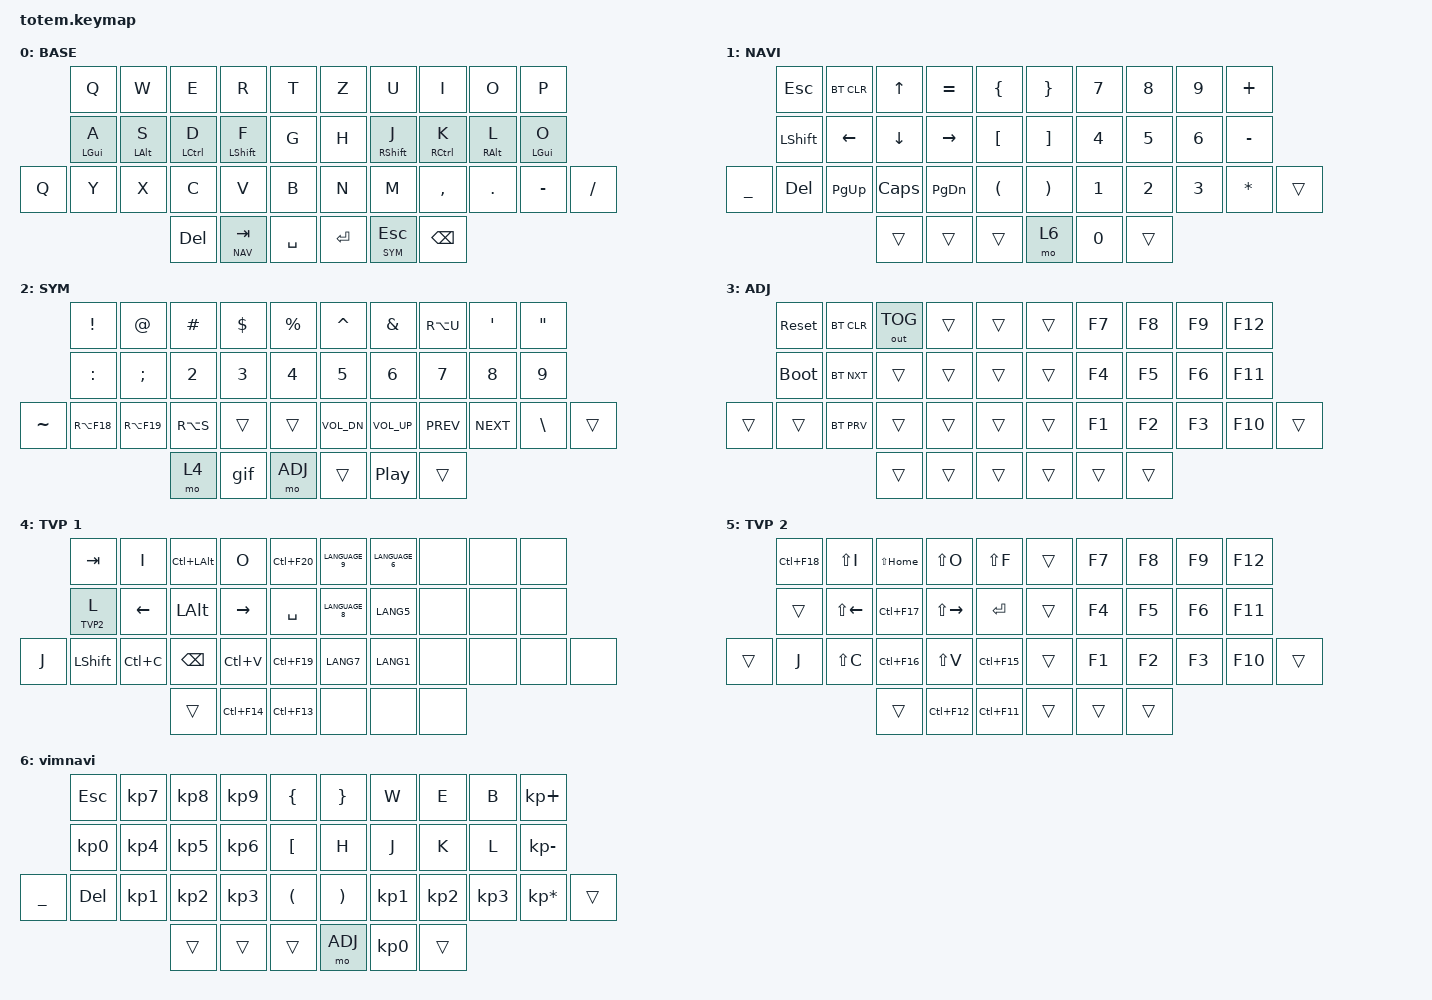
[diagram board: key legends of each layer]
//
//                                                        ▀▀▀▀▀     ▀▀▀▀▀          ▀▀█▀▀
//                                                        ▄▀▀▀▄  ▄  ▄▀▀▀▄  ▄  ▄▀▀▀▄  █  ▄▀▀▀▄
//                                                        █   █  █  █   █  █  █   █  █  █   █
//                                                         ▀▀▀   █   ▀▀▀   █   ▀▀▀   ▀   ▀▀▀
//                                                               █      ▄▄▄█▄▄▄    █   █  
//                                                               ▀      █  █  █     █▄█
//                                                             ▀▀▀▀▀    █  █  █      ▀
//                                                                      ▀  ▀  ▀
//
// ▄▄▄▄▄▄▄▄▄▄▄▄▄▄▄▄▄▄▄▄▄▄▄▄▄▄▄▄▄▄▄▄▄▄▄▄▄▄▄▄▄▄▄▄▄▄▄▄▄▄▄▄▄▄▄▄▄▄▄▄▄▄▄▄▄▄▄▄▄▄▄▄▄▄▄▄▄▄▄▄▄▄▄▄▄▄▄▄▄▄▄▄▄▄▄▄▄▄▄▄▄▄▄▄▄▄▄▄▄▄▄▄▄▄▄▄▄▄▄▄▄▄▄▄▄▄▄▄▄▄▄▄▄▄▄▄▄▄▄▄▄▄▄▄▄▄▄▄▄

#include <behaviors.dtsi>
#include <dt-bindings/zmk/bt.h>
#include <dt-bindings/zmk/keys.h>
#include <dt-bindings/zmk/outputs.h>

#define BASE 0
#define NAV  1
#define SYM  2
#define ADJ  3
#define TVP1 4
#define TVP2 5

&mt {
    quick-tap-ms = <120>;
    global-quick-tap;
    flavor = "tap-preferred";
    tapping-term-ms = <180>;
};

/ {
    combos {
        compatible = "zmk,combos";

        combo_esc {
            timeout-ms = <50>;
            key-positions = <0 1>;
            bindings = <&kp ESC>;
        };

        combo_tvp {
            timeout-ms = <100>;
            key-positions = <11 12 13>;
            bindings = <&tog TVP1>;
        };
    };

    macros {
        gif: gif {
            label = "giphy";
            compatible = "zmk,behavior-macro";
            #binding-cells = <0>;
            bindings =
                <&macro_press>,
                <&kp LSHFT>,
                <&macro_tap>,
                <&kp N2>,
                <&macro_release>,
                <&kp LSHFT>,
                <&macro_tap>,
                <&kp G &kp I &kp F>;
        };
    };

    keymap {
        compatible = "zmk,keymap";

        // ▄▄▄▄▄▄▄▄▄▄▄▄▄▄▄▄▄▄▄▄▄▄▄▄▄▄▄▄▄▄▄▄▄▄▄▄▄▄▄▄▄▄▄▄▄▄▄▄▄▄▄▄▄▄▄▄▄▄▄▄▄▄▄▄▄▄▄▄▄▄▄▄▄▄▄▄▄▄▄▄▄▄▄▄▄▄▄▄▄▄▄▄▄▄▄▄▄▄▄▄▄▄▄▄▄▄▄▄▄▄▄▄▄▄▄▄▄▄▄▄▄▄▄▄▄▄▄▄▄▄▄▄▄▄▄▄▄▄▄▄▄▄▄▄▄▄▄▄▄

        base_layer {
            // ┏━━━━━━━━━━━━━━━━━━━━━━━━━━━━━━━━━━━━━━━┓

            label = "BASE";

            // ┗━━━━━━━━━━━━━━━━━━━━━━━━━━━━━━━━━━━━━━━┛
            //             ┏━━━━━━━━━━━┳━━━━━━━━━━━┳━━━━━━━━━━━┳━━━━━━━━━━━┳━━━━━━━━━━━┓   ┏━━━━━━━━━━━┳━━━━━━━━━━━┳━━━━━━━━━━━┳━━━━━━━━━━━┳━━━━━━━━━━━┓
            //             ┃     Q     ┃     W     ┃     F     ┃     P     ┃     G     ┃   ┃     J     ┃     L     ┃     U     ┃     Y     ┃     ;     ┃
            //             ┣━━━━━━━━━━━╋━━━━━━━━━━━╋━━━━━━━━━━━╋━━━━━━━━━━━╋━━━━━━━━━━━┫   ┣━━━━━━━━━━━╋━━━━━━━━━━━╋━━━━━━━━━━━╋━━━━━━━━━━━╋━━━━━━━━━━━┫
            //             ┃     A     ┃     R     ┃     S     ┃     T     ┃     D     ┃   ┃     H     ┃     N     ┃     E     ┃     I     ┃     O     ┃
            // ┏━━━━━━━━━━━╋━━━━━━━━━━━╋━━━━━━━━━━━╋━━━━━━━━━━━╋━━━━━━━━━━━╋━━━━━━━━━━━┫   ┣━━━━━━━━━━━╋━━━━━━━━━━━╋━━━━━━━━━━━╋━━━━━━━━━━━╋━━━━━━━━━━━╋━━━━━━━━━━━┓
            // ┃     Q     ┃     Z     ┃     X     ┃     C     ┃     V     ┃     B     ┃   ┃     K     ┃     M     ┃     ,     ┃     .     ┃     /     ┃     \     ┃
            // ┗━━━━━━━━━━━┻━━━━━━━━━━━┻━━━━━━━━━━━╋━━━━━━━━━━━╋━━━━━━━━━━━╋━━━━━━━━━━━┫   ┣━━━━━━━━━━━╋━━━━━━━━━━━╋━━━━━━━━━━━╋━━━━━━━━━━━┻━━━━━━━━━━━┻━━━━━━━━━━━┛
            //                                     ┃    DEL    ┃    TAB    ┃    SPC    ┃   ┃   ENTER   ┃           ┃   BSPC    ┃
            //                                     ┗━━━━━━━━━━━┻━━━━━━━━━━━┻━━━━━━━━━━━┛   ┗━━━━━━━━━━━┻━━━━━━━━━━━┻━━━━━━━━━━━┛

            bindings = <
       &kp Q       &kp W       &kp E        &kp R        &kp T        &kp Z    &kp U        &kp I        &kp O       &kp P
       &mt LGUI A  &mt LALT S  &mt LCTRL D  &mt LSHFT F  &kp G        &kp H    &mt RSHFT J  &mt RCTRL K  &mt RALT L  &mt LEFT_GUI O
&kp Q  &kp Y       &kp X       &kp C        &kp V        &kp B        &kp N    &kp M        &kp COMMA    &kp DOT     &kp MINUS       &kp SLASH
                               &kp DEL      &lt NAV TAB  &kp SPACE    &kp RET  &lt SYM ESC  &kp BSPC
            >;
        };

        // ▄▄▄▄▄▄▄▄▄▄▄▄▄▄▄▄▄▄▄▄▄▄▄▄▄▄▄▄▄▄▄▄▄▄▄▄▄▄▄▄▄▄▄▄▄▄▄▄▄▄▄▄▄▄▄▄▄▄▄▄▄▄▄▄▄▄▄▄▄▄▄▄▄▄▄▄▄▄▄▄▄▄▄▄▄▄▄▄▄▄▄▄▄▄▄▄▄▄▄▄▄▄▄▄▄▄▄▄▄▄▄▄▄▄▄▄▄▄▄▄▄▄▄▄▄▄▄▄▄▄▄▄▄▄▄▄▄▄▄▄▄▄▄▄▄▄▄▄▄

        nav_layer {
            // ┏━━━━━━━━━━━━━━━━━━━━━━━━━━━━━━━━━━━━━━━┓

            label = "NAVI";

            // ┗━━━━━━━━━━━━━━━━━━━━━━━━━━━━━━━━━━━━━━━┛
            //             ┏━━━━━━━━━━━┳━━━━━━━━━━━┳━━━━━━━━━━━┳━━━━━━━━━━━┳━━━━━━━━━━━┓   ┏━━━━━━━━━━━┳━━━━━━━━━━━┳━━━━━━━━━━━┳━━━━━━━━━━━┳━━━━━━━━━━━┓
            //             ┃           ┃           ┃     UP    ┃           ┃     {     ┃   ┃     }     ┃     7     ┃     8     ┃     9     ┃     +     ┃
            //             ┣━━━━━━━━━━━╋━━━━━━━━━━━╋━━━━━━━━━━━╋━━━━━━━━━━━╋━━━━━━━━━━━┫   ┣━━━━━━━━━━━╋━━━━━━━━━━━╋━━━━━━━━━━━╋━━━━━━━━━━━╋━━━━━━━━━━━┫
            //             ┃   SHIFT   ┃   LEFT    ┃    DOWN   ┃   RIGHT   ┃     [     ┃   ┃     ]     ┃     4     ┃     5     ┃     6     ┃     -     ┃
            // ┏━━━━━━━━━━━╋━━━━━━━━━━━╋━━━━━━━━━━━╋━━━━━━━━━━━╋━━━━━━━━━━━╋━━━━━━━━━━━┫   ┣━━━━━━━━━━━╋━━━━━━━━━━━╋━━━━━━━━━━━╋━━━━━━━━━━━╋━━━━━━━━━━━╋━━━━━━━━━━━┓
            // ┃           ┃           ┃   P UP    ┃  C LOCK   ┃  P DOWN   ┃     (     ┃   ┃     )     ┃     1     ┃     2     ┃     3     ┃     *     ┃           ┃
            // ┗━━━━━━━━━━━┻━━━━━━━━━━━┻━━━━━━━━━━━╋━━━━━━━━━━━╋━━━━━━━━━━━╋━━━━━━━━━━━┫   ┣━━━━━━━━━━━╋━━━━━━━━━━━╋━━━━━━━━━━━╋━━━━━━━━━━━┻━━━━━━━━━━━┻━━━━━━━━━━━┛
            //                                     ┃           ┃    TAB    ┃    SPC    ┃   ┃    DEL    ┃     0     ┃           ┃
            //                                     ┗━━━━━━━━━━━┻━━━━━━━━━━━┻━━━━━━━━━━━┛   ┗━━━━━━━━━━━┻━━━━━━━━━━━┻━━━━━━━━━━━┛

            bindings = <
           &kp ESC    &bt BT_CLR  &kp UP    &kp EQUAL  &kp LBRC    &kp RBRC  &kp NUMBER_7  &kp NUMBER_8  &kp NUMBER_9  &kp PLUS
           &kp LSHFT  &kp LEFT    &kp DOWN  &kp RIGHT  &kp LBKT    &kp RBKT  &kp NUMBER_4  &kp NUMBER_5  &kp NUMBER_6  &kp MINUS
&kp UNDER  &kp DEL    &kp PG_UP   &kp CAPS  &kp PG_DN  &kp LPAR    &kp RPAR  &kp NUMBER_1  &kp NUMBER_2  &kp NUMBER_3  &kp ASTERISK  &trans
                                  &trans    &trans     &trans      &mo 6     &kp NUMBER_0  &trans
            >;
        };

        // ▄▄▄▄▄▄▄▄▄▄▄▄▄▄▄▄▄▄▄▄▄▄▄▄▄▄▄▄▄▄▄▄▄▄▄▄▄▄▄▄▄▄▄▄▄▄▄▄▄▄▄▄▄▄▄▄▄▄▄▄▄▄▄▄▄▄▄▄▄▄▄▄▄▄▄▄▄▄▄▄▄▄▄▄▄▄▄▄▄▄▄▄▄▄▄▄▄▄▄▄▄▄▄▄▄▄▄▄▄▄▄▄▄▄▄▄▄▄▄▄▄▄▄▄▄▄▄▄▄▄▄▄▄▄▄▄▄▄▄▄▄▄▄▄▄▄▄▄▄

        sim_layer {
            // ┏━━━━━━━━━━━━━━━━━━━━━━━━━━━━━━━━━━━━━━━┓

            label = "SYM";

            // ┗━━━━━━━━━━━━━━━━━━━━━━━━━━━━━━━━━━━━━━━┛
            //             ┏━━━━━━━━━━━┳━━━━━━━━━━━┳━━━━━━━━━━━┳━━━━━━━━━━━┳━━━━━━━━━━━┓   ┏━━━━━━━━━━━┳━━━━━━━━━━━┳━━━━━━━━━━━┳━━━━━━━━━━━┳━━━━━━━━━━━┓
            //             ┃     !     ┃     @     ┃     #     ┃     $     ┃     %     ┃   ┃     ˆ     ┃     &     ┃     Ü     ┃     '     ┃     "     ┃
            //             ┣━━━━━━━━━━━╋━━━━━━━━━━━╋━━━━━━━━━━━╋━━━━━━━━━━━╋━━━━━━━━━━━┫   ┣━━━━━━━━━━━╋━━━━━━━━━━━╋━━━━━━━━━━━╋━━━━━━━━━━━╋━━━━━━━━━━━┫
            //             ┃     Ä     ┃           ┃    SZ     ┃           ┃           ┃   ┃   MUTE    ┃   YEN     ┃   EURO    ┃  POUND    ┃     Ö     ┃
            // ┏━━━━━━━━━━━╋━━━━━━━━━━━╋━━━━━━━━━━━╋━━━━━━━━━━━╋━━━━━━━━━━━╋━━━━━━━━━━━┫   ┣━━━━━━━━━━━╋━━━━━━━━━━━╋━━━━━━━━━━━╋━━━━━━━━━━━╋━━━━━━━━━━━╋━━━━━━━━━━━┓
            // ┃           ┃  EMAIL1   ┃  EMAIL2   ┃           ┃           ┃           ┃   ┃   VOL-    ┃   VOL+    ┃   LAST    ┃   NEXT    ┃     \     ┃           ┃
            // ┗━━━━━━━━━━━┻━━━━━━━━━━━┻━━━━━━━━━━━╋━━━━━━━━━━━╋━━━━━━━━━━━╋━━━━━━━━━━━┫   ┣━━━━━━━━━━━╋━━━━━━━━━━━╋━━━━━━━━━━━╋━━━━━━━━━━━┻━━━━━━━━━━━┻━━━━━━━━━━━┛
            //                                     ┃           ┃    GIF    ┃    ADJ    ┃   ┃           ┃           ┃           ┃
            //                                     ┗━━━━━━━━━━━┻━━━━━━━━━━━┻━━━━━━━━━━━┛   ┗━━━━━━━━━━━┻━━━━━━━━━━━┻━━━━━━━━━━━┛

            bindings = <
           &kp EXCL     &kp AT         &kp HASH      &kp DLLR      &kp PRCNT       &kp CARET     &kp AMPS      &kp RA(U)   &kp SQT     &kp DQT
           &kp COLON    &kp SEMICOLON  &kp NUMBER_2  &kp NUMBER_3  &kp NUMBER_4    &kp N5        &kp NUMBER_6  &kp N7      &kp N8      &kp N9
&kp TILDE  &kp RA(F18)  &kp RA(F19)    &kp RA(S)     &trans        &trans          &kp C_VOL_DN  &kp C_VOL_UP  &kp C_PREV  &kp C_NEXT  &kp BSLH  &trans
                                       &mo 4         &gif          &mo ADJ         &trans        &kp C_PP      &trans
            >;
        };

        // ▄▄▄▄▄▄▄▄▄▄▄▄▄▄▄▄▄▄▄▄▄▄▄▄▄▄▄▄▄▄▄▄▄▄▄▄▄▄▄▄▄▄▄▄▄▄▄▄▄▄▄▄▄▄▄▄▄▄▄▄▄▄▄▄▄▄▄▄▄▄▄▄▄▄▄▄▄▄▄▄▄▄▄▄▄▄▄▄▄▄▄▄▄▄▄▄▄▄▄▄▄▄▄▄▄▄▄▄▄▄▄▄▄▄▄▄▄▄▄▄▄▄▄▄▄▄▄▄▄▄▄▄▄▄▄▄▄▄▄▄▄▄▄▄▄▄▄▄▄

        adjust_layer {
            // ┏━━━━━━━━━━━━━━━━━━━━━━━━━━━━━━━━━━━━━━━┓

            label = "ADJ";

            // ┗━━━━━━━━━━━━━━━━━━━━━━━━━━━━━━━━━━━━━━━┛
            //             ┏━━━━━━━━━━━┳━━━━━━━━━━━┳━━━━━━━━━━━┳━━━━━━━━━━━┳━━━━━━━━━━━┓   ┏━━━━━━━━━━━┳━━━━━━━━━━━┳━━━━━━━━━━━┳━━━━━━━━━━━┳━━━━━━━━━━━┓
            //             ┃   RESET   ┃ BT CLEAR  ┃  OUT TOG  ┃           ┃           ┃   ┃           ┃    F7     ┃    F8     ┃    F9     ┃    F12    ┃
            //             ┣━━━━━━━━━━━╋━━━━━━━━━━━╋━━━━━━━━━━━╋━━━━━━━━━━━╋━━━━━━━━━━━┫   ┣━━━━━━━━━━━╋━━━━━━━━━━━╋━━━━━━━━━━━╋━━━━━━━━━━━╋━━━━━━━━━━━┫
            //             ┃ BOOTLOAD  ┃ BT NEXT   ┃           ┃           ┃           ┃   ┃           ┃    F4     ┃    F5     ┃    F6     ┃    F11    ┃
            // ┏━━━━━━━━━━━╋━━━━━━━━━━━╋━━━━━━━━━━━╋━━━━━━━━━━━╋━━━━━━━━━━━╋━━━━━━━━━━━┫   ┣━━━━━━━━━━━╋━━━━━━━━━━━╋━━━━━━━━━━━╋━━━━━━━━━━━╋━━━━━━━━━━━╋━━━━━━━━━━━┓
            // ┃           ┃           ┃ BT PREV   ┃           ┃           ┃           ┃   ┃           ┃    F1     ┃    F2     ┃    F3     ┃    F10    ┃           ┃
            // ┗━━━━━━━━━━━┻━━━━━━━━━━━┻━━━━━━━━━━━╋━━━━━━━━━━━╋━━━━━━━━━━━╋━━━━━━━━━━━┫   ┣━━━━━━━━━━━╋━━━━━━━━━━━╋━━━━━━━━━━━╋━━━━━━━━━━━┻━━━━━━━━━━━┻━━━━━━━━━━━┛
            //                                     ┃           ┃           ┃           ┃   ┃           ┃           ┃           ┃
            //                                     ┗━━━━━━━━━━━┻━━━━━━━━━━━┻━━━━━━━━━━━┛   ┗━━━━━━━━━━━┻━━━━━━━━━━━┻━━━━━━━━━━━┛

            bindings = <
        &sys_reset   &bt BT_CLR  &out OUT_TOG  &trans  &trans    &trans  &kp F7  &kp F8  &kp F9  &kp F12
        &bootloader  &bt BT_NXT  &trans        &trans  &trans    &trans  &kp F4  &kp F5  &kp F6  &kp F11
&trans  &trans       &bt BT_PRV  &trans        &trans  &trans    &trans  &kp F1  &kp F2  &kp F3  &kp F10  &trans
                                 &trans        &trans  &trans    &trans  &trans  &trans
            >;
        };

        // ▄▄▄▄▄▄▄▄▄▄▄▄▄▄▄▄▄▄▄▄▄▄▄▄▄▄▄▄▄▄▄▄▄▄▄▄▄▄▄▄▄▄▄▄▄▄▄▄▄▄▄▄▄▄▄▄▄▄▄▄▄▄▄▄▄▄▄▄▄▄▄▄▄▄▄▄▄▄▄▄▄▄▄▄▄▄▄▄▄▄▄▄▄▄▄▄▄▄▄▄▄▄▄▄▄▄▄▄▄▄▄▄▄▄▄▄▄▄▄▄▄▄▄▄▄▄▄▄▄▄▄▄▄▄▄▄▄▄▄▄▄▄▄▄▄▄▄▄▄

        tvp1_layer {
            // ┏━━━━━━━━━━━━━━━━━━━━━━━━━━━━━━━━━━━━━━━┓

            label = "TVP 1";

            // ┗━━━━━━━━━━━━━━━━━━━━━━━━━━━━━━━━━━━━━━━┛
            //             ┏━━━━━━━━━━━┳━━━━━━━━━━━┳━━━━━━━━━━━┳━━━━━━━━━━━┳━━━━━━━━━━━┓   ┏━━━━━━━━━━━┳━━━━━━━━━━━┳━━━━━━━━━━━┳━━━━━━━━━━━┳━━━━━━━━━━━┓
            //             ┃ NEXT FILE ┃ MARK IN   ┃ ROTATE    ┃ MARK OUT  ┃ SHOW SNAP ┃   ┃           ┃           ┃           ┃           ┃           ┃
            //             ┣━━━━━━━━━━━╋━━━━━━━━━━━╋━━━━━━━━━━━╋━━━━━━━━━━━╋━━━━━━━━━━━┫   ┣━━━━━━━━━━━╋━━━━━━━━━━━╋━━━━━━━━━━━╋━━━━━━━━━━━╋━━━━━━━━━━━┫
            //             ┃ TVP II    ┃ LEFT      ┃ PAN       ┃ RIGHT     ┃ PLAY/FLIP ┃   ┃           ┃           ┃           ┃           ┃           ┃
            // ┏━━━━━━━━━━━╋━━━━━━━━━━━╋━━━━━━━━━━━╋━━━━━━━━━━━╋━━━━━━━━━━━╋━━━━━━━━━━━┫   ┣━━━━━━━━━━━╋━━━━━━━━━━━╋━━━━━━━━━━━╋━━━━━━━━━━━╋━━━━━━━━━━━╋━━━━━━━━━━━┓
            // ┃ FULLSCR   ┃ SHIFT     ┃ COPY      ┃ DELETE    ┃ PASTE     ┃ IMG MARK  ┃   ┃           ┃           ┃           ┃           ┃           ┃           ┃
            // ┗━━━━━━━━━━━┻━━━━━━━━━━━┻━━━━━━━━━━━╋━━━━━━━━━━━╋━━━━━━━━━━━╋━━━━━━━━━━━┫   ┣━━━━━━━━━━━╋━━━━━━━━━━━╋━━━━━━━━━━━╋━━━━━━━━━━━┻━━━━━━━━━━━┻━━━━━━━━━━━┛
            //                                     ┃           ┃ UNDO/SAVE ┃  SEL/MOV  ┃   ┃           ┃           ┃           ┃
            //                                     ┗━━━━━━━━━━━┻━━━━━━━━━━━┻━━━━━━━━━━━┛   ┗━━━━━━━━━━━┻━━━━━━━━━━━┻━━━━━━━━━━━┛

            bindings = <
       &kp TAB     &kp I      &kp LC(LALT)  &kp O        &kp LC(F20)    &kp LANGUAGE_9  &kp LANGUAGE_6  &none  &none  &none
       &lt TVP2 L  &kp LEFT   &kp LALT      &kp RIGHT    &kp SPACE      &kp LANGUAGE_8  &kp LANG5       &none  &none  &none
&kp J  &kp LSHFT   &kp LC(C)  &kp BSPC      &kp LC(V)    &kp LC(F19)    &kp LANG7       &kp LANG1       &none  &none  &none  &none
                              &trans        &kp LC(F14)  &kp LC(F13)    &none           &none           &none
            >;
        };

        // ▄▄▄▄▄▄▄▄▄▄▄▄▄▄▄▄▄▄▄▄▄▄▄▄▄▄▄▄▄▄▄▄▄▄▄▄▄▄▄▄▄▄▄▄▄▄▄▄▄▄▄▄▄▄▄▄▄▄▄▄▄▄▄▄▄▄▄▄▄▄▄▄▄▄▄▄▄▄▄▄▄▄▄▄▄▄▄▄▄▄▄▄▄▄▄▄▄▄▄▄▄▄▄▄▄▄▄▄▄▄▄▄▄▄▄▄▄▄▄▄▄▄▄▄▄▄▄▄▄▄▄▄▄▄▄▄▄▄▄▄▄▄▄▄▄▄▄▄▄

        tvp2_layer {
            // ┏━━━━━━━━━━━━━━━━━━━━━━━━━━━━━━━━━━━━━━━┓

            label = "TVP 2";

            // ┗━━━━━━━━━━━━━━━━━━━━━━━━━━━━━━━━━━━━━━━┛
            //             ┏━━━━━━━━━━━┳━━━━━━━━━━━┳━━━━━━━━━━━┳━━━━━━━━━━━┳━━━━━━━━━━━┓   ┏━━━━━━━━━━━┳━━━━━━━━━━━┳━━━━━━━━━━━┳━━━━━━━━━━━┳━━━━━━━━━━━┓
            //             ┃ SOLO      ┃ TOGGLE IN ┃ RESET ROT ┃ TOGGLE OUT┃ TAKE SNAP ┃   ┃           ┃           ┃           ┃           ┃           ┃
            //             ┣━━━━━━━━━━━╋━━━━━━━━━━━╋━━━━━━━━━━━╋━━━━━━━━━━━╋━━━━━━━━━━━┫   ┣━━━━━━━━━━━╋━━━━━━━━━━━╋━━━━━━━━━━━╋━━━━━━━━━━━╋━━━━━━━━━━━┫
            //             ┃ ---       ┃ LAST KEY  ┃ NEW KEY   ┃ NEXT KEY  ┃ ENTER     ┃   ┃           ┃           ┃           ┃           ┃           ┃
            // ┏━━━━━━━━━━━╋━━━━━━━━━━━╋━━━━━━━━━━━╋━━━━━━━━━━━╋━━━━━━━━━━━╋━━━━━━━━━━━┫   ┣━━━━━━━━━━━╋━━━━━━━━━━━╋━━━━━━━━━━━╋━━━━━━━━━━━╋━━━━━━━━━━━╋━━━━━━━━━━━┓
            // ┃           ┃ FULLSCR   ┃ CPY2BRUSH ┃ DEL HEAD  ┃ PSTinPLACE┃ BOOK MARK ┃   ┃           ┃           ┃           ┃           ┃           ┃           ┃
            // ┗━━━━━━━━━━━┻━━━━━━━━━━━┻━━━━━━━━━━━╋━━━━━━━━━━━╋━━━━━━━━━━━╋━━━━━━━━━━━┫   ┣━━━━━━━━━━━╋━━━━━━━━━━━╋━━━━━━━━━━━╋━━━━━━━━━━━┻━━━━━━━━━━━┻━━━━━━━━━━━┛
            //                                     ┃           ┃ REDO/SAV1 ┃TRANS/WARP ┃   ┃           ┃           ┃           ┃
            //                                     ┗━━━━━━━━━━━┻━━━━━━━━━━━┻━━━━━━━━━━━┛   ┗━━━━━━━━━━━┻━━━━━━━━━━━┻━━━━━━━━━━━┛

            bindings = <
        &kp LC(F18)  &kp LS(I)     &kp LS(HOME)  &kp LS(O)      &kp LS(F)      &trans  &kp F7  &kp F8  &kp F9  &kp F12
        &trans       &kp LS(LEFT)  &kp LC(F17)   &kp LS(RIGHT)  &kp RET        &trans  &kp F4  &kp F5  &kp F6  &kp F11
&trans  &kp J        &kp LS(C)     &kp LC(F16)   &kp LS(V)      &kp LC(F15)    &trans  &kp F1  &kp F2  &kp F3  &kp F10  &trans
                                   &trans        &kp LC(F12)    &kp LC(F11)    &trans  &trans  &trans
            >;
        };

        layer_6 {
            label = "vimnavi";
            bindings = <
           &kp ESC          &kp KP_NUMBER_7  &kp KP_NUMBER_8  &kp KP_NUMBER_9  &kp LBRC    &kp RBRC  &kp W      &kp E      &kp B      &kp KP_PLUS
           &kp KP_NUMBER_0  &kp KP_NUMBER_4  &kp KP_NUMBER_5  &kp KP_NUMBER_6  &kp LBKT    &kp H     &kp J      &kp K      &kp L      &kp KP_MINUS
&kp UNDER  &kp DEL          &kp KP_NUMBER_1  &kp KP_NUMBER_2  &kp KP_NUMBER_3  &kp LPAR    &kp RPAR  &kp KP_N1  &kp KP_N2  &kp KP_N3  &kp KP_MULTIPLY  &trans
                                             &trans           &trans           &trans      &mo ADJ   &kp KP_N0  &trans
            >;
        };
    };
};
